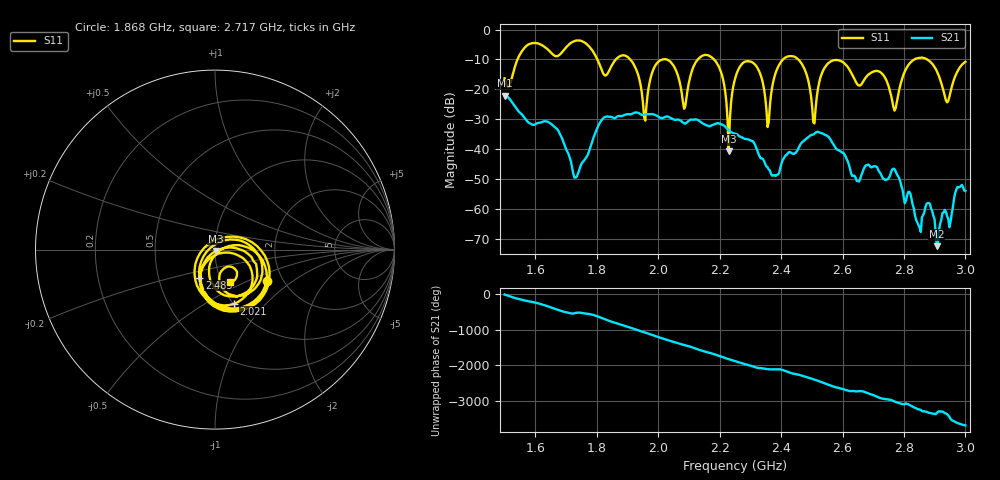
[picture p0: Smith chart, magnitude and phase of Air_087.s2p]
# HZ S RI R 50
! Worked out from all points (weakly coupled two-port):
!   404 points, 1.5 GHz to 3 GHz, reference 50 ohm
!   highest |S21| = -22.10 dB at 1.5 GHz (marker M1); lowest = -72.4 dB at 2.907 GHz (marker M2)
!   lowest |S11| = -40.7 dB at 2.23 GHz (marker M3), VSWR 1.02, Z = 50.5 - j0.759 ohm
!   |S11| at or under -10 dB: 2.182 GHz to 2.406 GHz (224.5 MHz wide, 9.79 % of centre); 2.456 GHz to 2.834 GHz (377.7 MHz wide, 14.3 % of centre); 2.875 GHz to end of sweep (the widest 3 of 7)
!   S12 and S22 are empty: the file has one direction only
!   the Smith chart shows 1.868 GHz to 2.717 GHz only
!   S11 on the Smith chart (normalised r, x): 1.868 GHz: 1.66, -0.66; 2.021 GHz: 1.00, -0.68; 2.483 GHz: 0.80, -0.26; 2.717 GHz: 1.09, -0.42
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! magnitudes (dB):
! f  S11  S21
! 1.5 GHz  -16.3  -22.1
! 1.578 GHz  -4.9  -31.1
! 1.753 GHz  -3.9  -44.4
! 1.868 GHz  -9.4  -29.0
! 1.958 GHz  -30.4  -28.3
! 2.002 GHz  -10.6  -29.3
! 2.021 GHz  -9.9  -29.2
! 2.084 GHz  -26.5  -31.3
! 2.177 GHz  -9.6  -31.9
! 2.23 GHz  -40.7  -33.6
! 2.252 GHz  -15.8  -34.8
! 2.315 GHz  -11.7  -38.5
! 2.356 GHz  -32.6  -46.0
! 2.378 GHz  -15.8  -48.7
! 2.483 GHz  -14.9  -36.4
! 2.501 GHz  -26.0  -35.1
! 2.565 GHz  -10.5  -37.4
! 2.717 GHz  -14.0  -47.1
! 2.751 GHz  -19.1  -49.6
! 2.907 GHz  -13.9  -72.4
! 2.94 GHz  -24.3  -62.4
! 3 GHz  -10.8  -53.9
